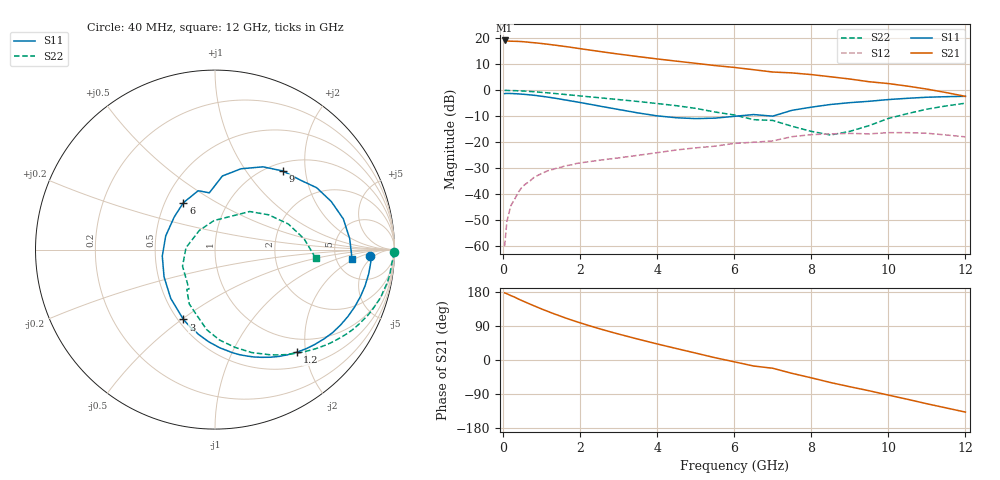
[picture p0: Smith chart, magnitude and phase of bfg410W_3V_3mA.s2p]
! Filename: 33bfg410.001
! BFG410W Field B1
! V1=8.408E-001V,V2=3.000E+000V, I1=4.058E-005A, I2=3.000E-003A
# GHz  S  MA  R 50
!  S11  S21  S12  S22
!Freq(GHz)  Mag  Ang  Mag  Ang  Mag  Ang  Mag  Ang
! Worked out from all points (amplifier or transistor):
!   44 points, 40 MHz to 12 GHz, reference 50 ohm
!   highest |S21| = 19.2 dB at 40 MHz (marker M1)
!   |S21| within 3 dB of that: start of sweep to 1.927 GHz
!   unconditionally stable (mu >= 1): 3.011 GHz to end of sweep
!   at 700 MHz: K = 0.24, MSG = 26.7 dB, |S12| = -34.9 dB
!   at 2.4 GHz: K = 0.79, MSG = 21.2 dB, |S12| = -27.1 dB
!   at 12 GHz: K = 1.71, MAG = 2.9 dB, |S12| = -17.9 dB
!   S11 on the Smith chart (normalised r, x): 40 MHz: 13, -3; 1.2 GHz: 0.75, -1.84; 3 GHz: 0.53, -0.51; 6 GHz: 0.62, +0.36; 9 GHz: 1.15, +1.51; 12 GHz: 7.04, -1.87
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0.04  0.863 -2.2  9.097 177.2  0.001 56.6  0.995 -0.8
0.1  0.871 -4.5  8.9 174.9  0.003 85.0  0.994 -2.5
0.2  0.867 -9.0  8.803 170.0  0.006 82.0  0.986 -5.5
0.4  0.852 -17.8  8.723 160.8  0.011 77.4  0.977 -10.9
0.6  0.829 -26.7  8.512 151.9  0.016 71.9  0.961 -15.9
0.9  0.785 -39.3  8.099 138.9  0.023 64.2  0.926 -23.4
1.2  0.731 -51.4  7.626 126.7  0.029 57.7  0.887 -30.2
1.7  0.636 -70.1  6.819 108.1  0.036 48.8  0.819 -40.2
2.2  0.547 -87.3  6.02 91.7  0.042 42.4  0.754 -49.1
2.6  0.482 -100.8  5.462 79.7  0.046 38.5  0.707 -55.8
3  0.427 -114.3  4.974 68.4  0.05 35.4  0.662 -62.3
3.5  0.367 -132.2  4.455 55.1  0.056 31.7  0.609 -70.4
4.5  0.296 -172.9  3.638 30.2  0.071 23.4  0.505 -87.0
5.5  0.291 141.3  2.991 6.1  0.084 10.8  0.382 -105.1
6  0.315 124.0  2.755 -4.7  0.095 6.1  0.335 -115.3
6.5  0.341 105.9  2.489 -15.8  0.1 -0.3  0.272 -125.3
7  0.318 95.7  2.246 -21.8  0.106 7.6  0.263 -123.4
7.5  0.412 84.3  2.16 -35.2  0.128 -8.4  0.203 -153.0
8.5  0.533 59.9  1.82 -59.5  0.145 -31.7  0.138 129.1
9  0.578 49.3  1.648 -70.5  0.148 -41.6  0.162 91.9
10.5  0.701 22.5  1.202 -103.7  0.153 -72.5  0.356 33.0
12  0.766 -4.1  0.765 -137.5  0.127 -112.2  0.564 -5.0
